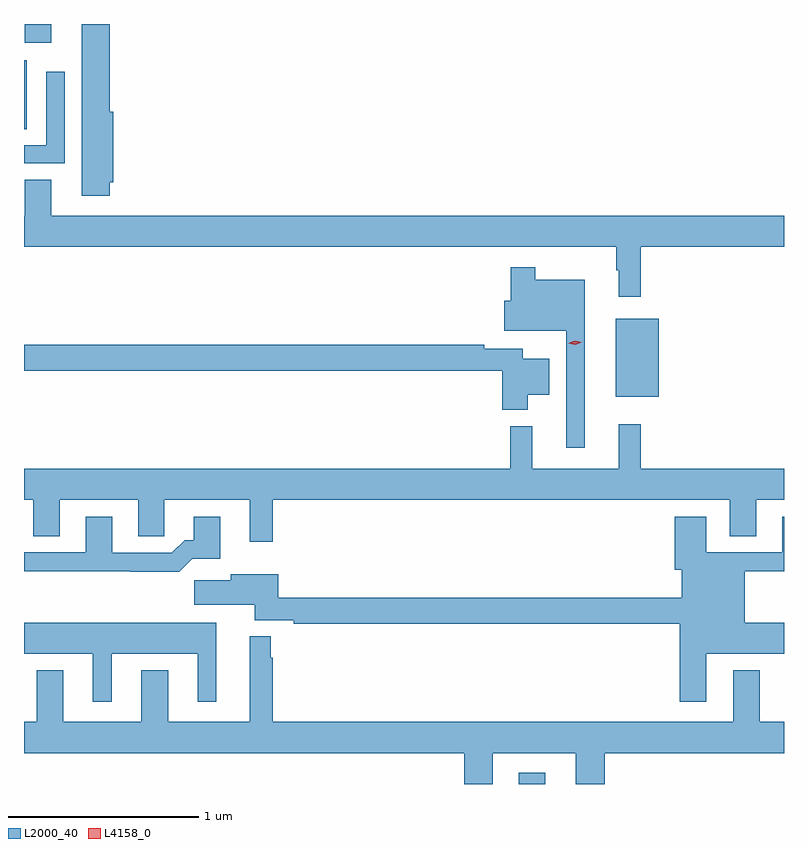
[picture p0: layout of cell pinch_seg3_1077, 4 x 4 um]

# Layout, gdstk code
import gdstk
lib = gdstk.Library(unit=1e-6, precision=1e-09)
def R(c, l, rs):  # rectangles x0, y0, x1, y1
    for r in rs: c.add(gdstk.rectangle(r[:2], r[2:], *l))
def P(c, l, *ps):  # polygons
    for p in ps: c.add(gdstk.Polygon(p, *l))
L2000_40 = (2000, 40)
L4158_0 = (4158, 0)

pinch_seg3_1077 = lib.new_cell('pinch_seg3_1077')
R(pinch_seg3_1077, L2000_40, [(343.253,676.777,343.393,676.837), (343.763,678.815,343.99,679.225), (340.649,680.224,340.663,680.587), (340.652,680.679,340.792,680.777)])
P(pinch_seg3_1077, L2000_40, [(341.099,679.944),(341.12,679.944),(341.12,680.316),(341.099,680.316),(341.099,680.777),(340.952,680.777),(340.952,679.872),(341.099,679.872)],
  [(340.863,680.527),(340.767,680.527),(340.767,680.139),(340.649,680.139),(340.649,680.043),(340.863,680.043)],
  [(343.895,679.604),(344.649,679.604),(344.649,679.768),(340.792,679.768),(340.792,679.958),(340.652,679.958),(340.652,679.768),(340.649,679.768),(340.649,679.604),(343.767,679.604),(343.767,679.481),(343.778,679.481),(343.778,679.341),(343.895,679.341)],
  [(343.6,679.432),(343.339,679.432),(343.339,679.498),(343.21,679.498),(343.21,679.321),(343.176,679.321),(343.176,679.163),(343.503,679.163),(343.503,678.546),(343.6,678.546)],
  [(343.3,678.827),(343.414,678.827),(343.414,679.015),(343.275,679.015),(343.275,679.068),(343.072,679.068),(343.072,679.088),(340.649,679.088),(340.649,678.952),(343.166,678.952),(343.166,678.746),(343.3,678.746)],
  [(341.959,678.272),(344.363,678.272),(344.363,678.082),(344.503,678.082),(344.503,678.272),(344.649,678.272),(344.649,678.436),(343.895,678.436),(343.895,678.67),(343.778,678.67),(343.778,678.436),(343.325,678.436),(343.325,678.661),(343.207,678.661),(343.207,678.436),(340.649,678.436),(340.649,678.272),(340.697,678.272),(340.697,678.082),(340.837,678.082),(340.837,678.272),(341.249,678.272),(341.249,678.082),(341.388,678.082),(341.388,678.272),(341.837,678.272),(341.837,678.051),(341.959,678.051)],
  [(344.239,677.462),(344.649,677.462),(344.649,677.626),(344.443,677.626),(344.443,677.896),(344.649,677.896),(344.649,678.184),(344.639,678.184),(344.639,677.997),(344.239,677.997),(344.239,678.184),(344.075,678.184),(344.075,677.904),(344.111,677.904),(344.111,677.756),(341.987,677.756),(341.987,677.881),(341.738,677.881),(341.738,677.849),(341.544,677.849),(341.544,677.72),(341.864,677.72),(341.864,677.64),(342.07,677.64),(342.07,677.62),(344.099,677.62),(344.099,677.211),(344.239,677.211)],
  [(341.534,677.963),(341.683,677.963),(341.683,678.184),(341.543,678.184),(341.543,678.061),(341.494,678.061),(341.427,677.994),(341.113,677.994),(341.113,678.184),(340.973,678.184),(340.973,677.997),(340.649,677.997),(340.649,677.896),(341.209,677.896),(341.209,677.894),(341.465,677.894)],
  [(341.11,677.462),(341.564,677.462),(341.564,677.211),(341.662,677.211),(341.662,677.626),(340.649,677.626),(340.649,677.462),(341.012,677.462),(341.012,677.211),(341.11,677.211)],
  [(343.117,676.94),(343.553,676.94),(343.553,676.777),(343.706,676.777),(343.706,676.94),(344.649,676.94),(344.649,677.104),(344.521,677.104),(344.521,677.377),(344.381,677.377),(344.381,677.104),(341.959,677.104),(341.959,677.441),(341.948,677.441),(341.948,677.554),(341.837,677.554),(341.837,677.104),(341.407,677.104),(341.407,677.377),(341.267,677.377),(341.267,677.104),(340.855,677.104),(340.855,677.377),(340.715,677.377),(340.715,677.104),(340.649,677.104),(340.649,676.94),(342.965,676.94),(342.965,676.777),(343.117,676.777)])
P(pinch_seg3_1077, L4158_0, [(343.549,679.089),(343.513,679.097),(343.513,679.097),(343.513,679.097),(343.548,679.109),(343.584,679.101),(343.584,679.101),(343.584,679.101)])

lib.write_gds('pinch_seg3_1077.gds')
